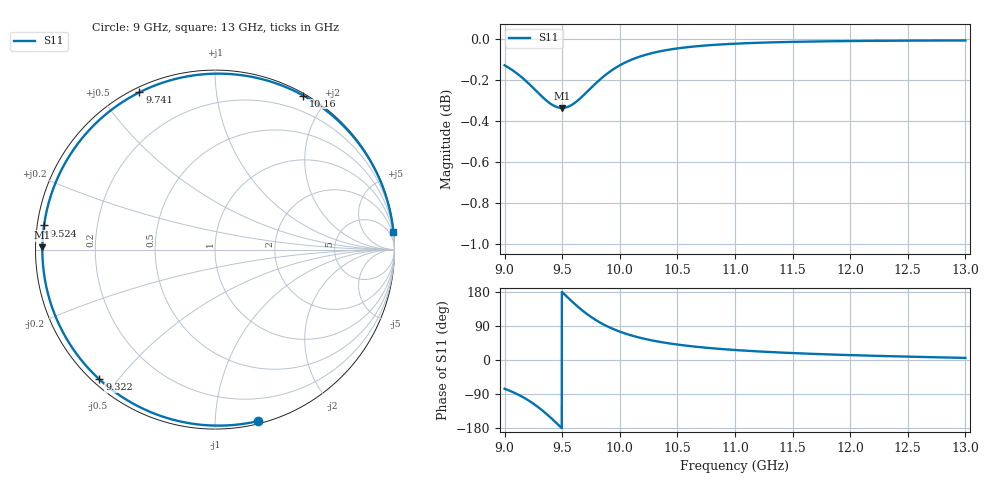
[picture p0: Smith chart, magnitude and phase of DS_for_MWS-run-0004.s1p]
! TOUCHSTONE file generated by CST DESIGN STUDIO
! Date and time: Tue Feb  4 13:45:11 2025
! Project name: C:\Work\MatlabApps\UnitCellOptimizationMatlab\CST\unitcell.cst
! Tree item: Tasks\Sweep1\SPara1\S-Parameters
! Header version: 2024
! Port assignment regex: !\s*Touchstone port\s*([0-9]+)\s*=\s*(CST MWS port|CST DES external port|CST DES block port)\s*(.+)\s* \(\"(.*)\"\)(\s*mode\s*([0-9]+))?.*
! Touchstone port assignment:
! Touchstone port 1 = CST DES external port 1 ("")
# GHz S MA R 50
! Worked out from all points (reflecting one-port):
!   4001 points, 9 GHz to 13 GHz, reference 50 ohm
!   lowest |S11| = -0.3 dB at 9.499 GHz (marker M1), VSWR 51.49, Z = 0.971 + j0.304 ohm
!   phase of S11 starts at -76 deg and turns -279 deg over the sweep
!   S11 on the Smith chart (normalised r, x): 9 GHz: 0.02, -1.28; 9.322 GHz: 0.02, -0.45; 9.524 GHz: 0.02, +0.07; 9.741 GHz: 0.02, +0.63; 10.16 GHz: 0.02, +1.73; 13 GHz: 0, +21
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9  0.9851 -75.8
9.084  0.9817 -86.4
9.185  0.9765 -102.6
9.256  0.9723 -116.5
9.322  0.9682 -131.7
9.369  0.9656 -143.7
9.419  0.9634 -157.5
9.46  0.9623 -169.3
9.499  0.9619 179.3
9.5  0.9619 179.0
9.524  0.9621 172.0
9.577  0.9633 156.7
9.637  0.966 140.3
9.688  0.9689 127.6
9.741  0.9722 115.6
9.794  0.9754 105.0
9.852  0.9786 94.9
9.925  0.9822 84.1
10  0.9851 74.8
10.156  0.9896 60.2
10.312  0.9924 49.8
10.5  0.9945 40.7
10.722  0.996 33.1
11  0.9971 26.3
11.5  0.9981 18.3
12  0.9986 12.9
12.5  0.9988 8.9
13  0.9989 5.5
